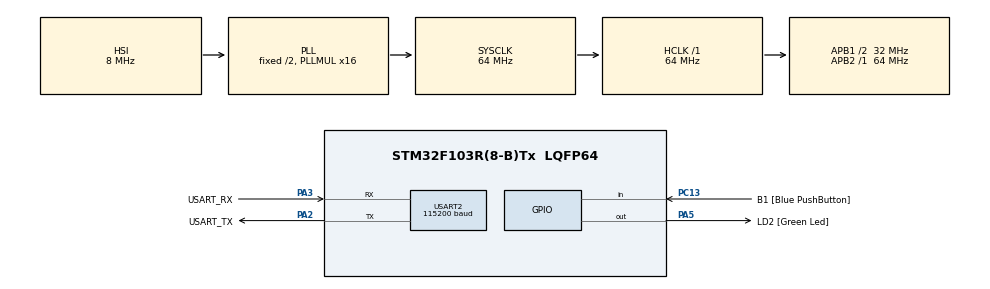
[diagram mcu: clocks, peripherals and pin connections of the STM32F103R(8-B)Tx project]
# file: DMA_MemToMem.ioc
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Dma.MEMTOMEM.0.Direction=DMA_MEMORY_TO_MEMORY
Dma.MEMTOMEM.0.Instance=DMA1_Channel1
Dma.MEMTOMEM.0.MemDataAlignment=DMA_MDATAALIGN_WORD
Dma.MEMTOMEM.0.MemInc=DMA_MINC_ENABLE
Dma.MEMTOMEM.0.Mode=DMA_NORMAL
Dma.MEMTOMEM.0.PeriphDataAlignment=DMA_PDATAALIGN_WORD
Dma.MEMTOMEM.0.PeriphInc=DMA_PINC_ENABLE
Dma.MEMTOMEM.0.Priority=DMA_PRIORITY_HIGH
Dma.Request0=MEMTOMEM
Mcu.Family=STM32F1
Mcu.Name=STM32F103R(8-B)Tx
Mcu.Package=LQFP64
NVIC.DMA1_Channel1_IRQn=true\:1\:0\:false\:false\:true\:true\:true\:true
NVIC.PriorityGroup=NVIC_PRIORITYGROUP_4
PA13.GPIO_Label=TMS
PA13.Mode=Serial_Wire
PA13.Signal=SYS_JTMS-SWDIO
PA14.GPIO_Label=TCK
PA14.Mode=Serial_Wire
PA14.Signal=SYS_JTCK-SWCLK
PA2.GPIO_Label=USART_TX
PA2.GPIO_Mode=GPIO_MODE_AF_PP
PA2.GPIO_PuPd=GPIO_NOPULL
PA2.GPIO_Speed=GPIO_SPEED_FREQ_LOW
PA2.Mode=Asynchronous
PA2.Signal=USART2_TX
PA3.GPIO_Label=USART_RX
PA3.GPIO_PuPd=GPIO_NOPULL
PA3.GPIO_Speed=GPIO_SPEED_FREQ_LOW
PA3.Mode=Asynchronous
PA3.Signal=USART2_RX
PA5.GPIO_Label=LD2 [Green Led]
PA5.GPIO_ModeDefaultOutputPP=GPIO_MODE_OUTPUT_PP
PA5.GPIO_PuPd=GPIO_NOPULL
PA5.GPIO_Speed=GPIO_SPEED_FREQ_LOW
PA5.Signal=GPIO_Output
PB3.GPIO_Label=SWO
PB3.Signal=SYS_JTDO-TRACESWO
PC13-TAMPER-RTC.GPIO_Label=B1 [Blue PushButton]
PC13-TAMPER-RTC.GPIO_PuPd=GPIO_NOPULL
PC13-TAMPER-RTC.Signal=GPIO_Input
PC14-OSC32_IN.Mode=LSE-External-Oscillator
PC14-OSC32_IN.Signal=RCC_OSC32_IN
PC15-OSC32_OUT.Mode=LSE-External-Oscillator
PC15-OSC32_OUT.Signal=RCC_OSC32_OUT
PD0-OSC_IN.Mode=HSE-External-Clock-Source
PD0-OSC_IN.Signal=RCC_OSC_IN
PD1-OSC_OUT.Mode=HSE-External-Clock-Source
PD1-OSC_OUT.Signal=RCC_OSC_OUT
ProjectManager.HeapSize=0x200
ProjectManager.StackSize=0x400
ProjectManager.TargetToolchain=STM32CubeIDE
RCC.AHBFreq_Value=64000000
RCC.APB1CLKDivider=RCC_HCLK_DIV2
RCC.APB1Freq_Value=32000000
RCC.APB1TimFreq_Value=64000000
RCC.APB2Freq_Value=64000000
RCC.APB2TimFreq_Value=64000000
RCC.HCLKFreq_Value=64000000
RCC.PLLMUL=RCC_PLL_MUL16
RCC.RTCClockSelection=RCC_RTCCLKSOURCE_LSE
RCC.SYSCLKFreq_VALUE=64000000
RCC.SYSCLKSource=RCC_SYSCLKSOURCE_PLLCLK
RCC.USBFreq_Value=64000000
USART2.BaudRate=115200
USART2.VirtualMode=VM_ASYNC
board=NUCLEO-F103RB

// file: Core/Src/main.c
/* USER CODE BEGIN Header */
/**
 ******************************************************************************
 * @file           : main.c
 * @brief          : Main program body
 ******************************************************************************
 * @attention
 *
 * Copyright (c) 2026 STMicroelectronics.
 * All rights reserved.
 *
 * This software is licensed under terms that can be found in the LICENSE file
 * in the root directory of this software component.
 * If no LICENSE file comes with this software, it is provided AS-IS.
 *
 ******************************************************************************
 */
/**
 * 01_DMA_MemToMem_c  —  [계층: HAL]  DMA1 채널1 메모리->메모리 복사
 *
 * 동작
 *   - 256워드(1KB) 배열을 (1) CPU 반복문, (2) DMA 로 각각 복사하고 DWT 사이클 카운터로 시간을 비교한다.
 *   - 부팅 시 1회, 이후 B1(PC13) 버튼을 누를 때마다 다시 측정하여 USART2(115200)로 출력.
 *
 * DMA 설정 (RM0008 13장)
 *   DMA1_Channel1->CCR: MEM2MEM=1, DIR=1(주변장치 주소 = 소스), PINC=1, MINC=1, PSIZE=MSIZE=32비트
 *   DMA1_Channel1->CPAR = 소스 주소, CMAR = 목적지 주소, CNDTR = 전송 개수
 *   DMA 는 CPU 를 쓰지 않고 버스 마스터로 복사 -> 완료되면 ISR.TCIF1 -> 인터럽트
 *
 * ISR vs 콜백
 *   DMA1_Channel1_IRQHandler (stm32f1xx_it.c, 진짜 ISR) -> HAL_DMA_IRQHandler()
 *     -> dma_done_cb() (이 파일, HAL_DMA_RegisterCallback 으로 등록한 콜백)
 *
 * 참고: 데이터가 SRAM 안에서 왕복하므로 버스 경합 때문에 DMA 가 CPU 루프보다 극적으로
 *       빠르지는 않을 수 있다. 이 예제의 핵심은 "전송 중 CPU 가 자유로움"을 확인하는 것이다.
 */
/* USER CODE END Header */
#include "main.h"

/* USER CODE BEGIN Includes */
#include <stdio.h>
#include <string.h>
/* USER CODE END Includes */

/* USER CODE BEGIN PD */
#define N_WORDS 256

/* USER CODE END PD */

DMA_HandleTypeDef hdma_memtomem_dma1_channel1;
UART_HandleTypeDef huart2;

/* USER CODE BEGIN PV */
static uint32_t src[N_WORDS];
static uint32_t dst_cpu[N_WORDS];
static uint32_t dst_dma[N_WORDS];
static volatile uint8_t dma_done;
/* USER CODE END PV */

void SystemClock_Config(void);
static void MX_GPIO_Init(void);
static void MX_DMA_Init(void);
static void MX_USART2_UART_Init(void);
/* USER CODE BEGIN PFP */
static void run_test(void);

/* USER CODE END PFP */

/* USER CODE BEGIN 0 */
/* ------------------------------------------------------------------------- */
/* DMA 콜백 (HAL_DMA_IRQHandler(ISR, stm32f1xx_it.c) 가 호출하는 등록형 콜백 */
/* ------------------------------------------------------------------------- */
static void dma_done_cb(DMA_HandleTypeDef *hdma) { (void)hdma; dma_done = 1; }

static void run_test(void)
{
    char msg[96];
    uint32_t t0, cpu_cycles, dma_cycles, free_loops = 0;

    memset(dst_cpu, 0, sizeof dst_cpu);
    memset(dst_dma, 0, sizeof dst_dma);

    /* (1) CPU 복사. volatile 로 컴파일러가 memcpy 로 바꾸거나 제거하지 못하게 한다 */
    volatile uint32_t *d = dst_cpu;
    t0 = DWT->CYCCNT;
    for (uint32_t i = 0; i < N_WORDS; i++) d[i] = src[i];
    cpu_cycles = DWT->CYCCNT - t0;

    /* (2) DMA 복사: 시작 후 완료될 때까지 CPU 가 다른 일을 한 횟수(free_loops)도 센다 */
    dma_done = 0;
    t0 = DWT->CYCCNT;
    if (HAL_DMA_Start_IT(&hdma_memtomem_dma1_channel1, (uint32_t)src, (uint32_t)dst_dma, N_WORDS) != HAL_OK) Error_Handler();
    while (!dma_done) free_loops++;
    dma_cycles = DWT->CYCCNT - t0;

    int ok = (memcmp(src, dst_dma, sizeof src) == 0);
    int n = snprintf(msg, sizeof msg, "CPU=%lu cyc  DMA=%lu cyc  (CPU free loops=%lu)  verify=%s\r\n",
                     (unsigned long)cpu_cycles, (unsigned long)dma_cycles,
                     (unsigned long)free_loops, ok ? "OK" : "FAIL");
    HAL_UART_Transmit(&huart2, (uint8_t *)msg, (uint16_t)n, 200);
}

/* USER CODE END 0 */

int main(void)
{

  /* MCU Configuration--------------------------------------------------------*/

  /* Reset of all peripherals, Initializes the Flash interface and the Systick. */
  HAL_Init();

  /* Configure the system clock */
  SystemClock_Config();

  /* Initialize all configured peripherals */
  MX_GPIO_Init();
  MX_DMA_Init();
  MX_USART2_UART_Init();
  /* USER CODE BEGIN 2 */
  /* DWT 사이클 카운터: CoreDebug->DEMCR.TRCENA=1, DWT->CTRL.CYCCNTENA=1 */
  CoreDebug->DEMCR |= CoreDebug_DEMCR_TRCENA_Msk;
  DWT->CYCCNT = 0;
  DWT->CTRL |= DWT_CTRL_CYCCNTENA_Msk;

  /* MX_DMA_Init() 가 설정한 DMA1_Channel1 (메모리->메모리):
   *   CCR.MEM2MEM=1 / CCR.PINC=1 (소스 주소 증가) / CCR.MINC=1 (목적지 주소 증가) / CCR.PSIZE=CCR.MSIZE=32비트 / CCR.CIRC=0
   *   NVIC->ISER[0] bit11 (DMA1_Channel1_IRQn) 도 MX_DMA_Init 에서 활성화 */
  /* 전송 완료 콜백 등록 (HAL_DMA_IRQHandler 가 ISR.TCIF1 을 확인한 뒤 호출). 일반 HAL 콜백과 달리 함수 포인터 등록 방식 */
  HAL_DMA_RegisterCallback(&hdma_memtomem_dma1_channel1, HAL_DMA_XFER_CPLT_CB_ID, dma_done_cb);

  for (uint32_t i = 0; i < N_WORDS; i++) src[i] = 0xA5000000u | i;

  run_test();
  /* USER CODE END 2 */

  /* Infinite loop */
  while (1)
  {

    /* USER CODE BEGIN 3 */
    if (HAL_GPIO_ReadPin(B1_GPIO_Port, B1_Pin) == GPIO_PIN_RESET)   /* GPIOC->IDR bit13 (B1_Pin) == 0 : 눌림 */
    {
      HAL_Delay(30);                                            /* 간이 디바운스 */
      run_test();
      while (HAL_GPIO_ReadPin(B1_GPIO_Port, B1_Pin) == GPIO_PIN_RESET) {}
      HAL_Delay(30);
    }
  }
  /* USER CODE END 3 */
}

void SystemClock_Config(void)
{
  RCC_OscInitTypeDef RCC_OscInitStruct = {0};
  RCC_ClkInitTypeDef RCC_ClkInitStruct = {0};

  /** Initializes the RCC Oscillators according to the specified parameters
  * in the RCC_OscInitTypeDef structure.
  */
  RCC_OscInitStruct.OscillatorType = RCC_OSCILLATORTYPE_HSI;
  RCC_OscInitStruct.HSIState = RCC_HSI_ON;
  RCC_OscInitStruct.HSICalibrationValue = RCC_HSICALIBRATION_DEFAULT;
  RCC_OscInitStruct.PLL.PLLState = RCC_PLL_ON;
  RCC_OscInitStruct.PLL.PLLSource = RCC_PLLSOURCE_HSI_DIV2;
  RCC_OscInitStruct.PLL.PLLMUL = RCC_PLL_MUL16;
  if (HAL_RCC_OscConfig(&RCC_OscInitStruct) != HAL_OK)
  {
    Error_Handler();
  }

  /** Initializes the CPU, AHB and APB buses clocks
  */
  RCC_ClkInitStruct.ClockType = RCC_CLOCKTYPE_HCLK|RCC_CLOCKTYPE_SYSCLK
                              |RCC_CLOCKTYPE_PCLK1|RCC_CLOCKTYPE_PCLK2;
  RCC_ClkInitStruct.SYSCLKSource = RCC_SYSCLKSOURCE_PLLCLK;
  RCC_ClkInitStruct.AHBCLKDivider = RCC_SYSCLK_DIV1;
  RCC_ClkInitStruct.APB1CLKDivider = RCC_HCLK_DIV2;
  RCC_ClkInitStruct.APB2CLKDivider = RCC_HCLK_DIV1;

  if (HAL_RCC_ClockConfig(&RCC_ClkInitStruct, FLASH_LATENCY_2) != HAL_OK)
  {
    Error_Handler();
  }
}

static void MX_GPIO_Init(void)
{
  GPIO_InitTypeDef GPIO_InitStruct = {0};

  /* GPIO Ports Clock Enable */
  __HAL_RCC_GPIOC_CLK_ENABLE();
  __HAL_RCC_GPIOD_CLK_ENABLE();
  __HAL_RCC_GPIOA_CLK_ENABLE();
  __HAL_RCC_GPIOB_CLK_ENABLE();

  /*Configure GPIO pin Output Level */
  HAL_GPIO_WritePin(LD2_GPIO_Port, LD2_Pin, GPIO_PIN_RESET);

  /*Configure GPIO pin : B1_Pin */
  GPIO_InitStruct.Pin = B1_Pin;
  GPIO_InitStruct.Mode = GPIO_MODE_INPUT;
  GPIO_InitStruct.Pull = GPIO_NOPULL;
  HAL_GPIO_Init(B1_GPIO_Port, &GPIO_InitStruct);

  /*Configure GPIO pin : LD2_Pin */
  GPIO_InitStruct.Pin = LD2_Pin;
  GPIO_InitStruct.Mode = GPIO_MODE_OUTPUT_PP;
  GPIO_InitStruct.Pull = GPIO_NOPULL;
  GPIO_InitStruct.Speed = GPIO_SPEED_FREQ_LOW;
  HAL_GPIO_Init(LD2_GPIO_Port, &GPIO_InitStruct);

}

static void MX_DMA_Init(void)
{

  /* DMA controller clock enable */
  __HAL_RCC_DMA1_CLK_ENABLE();

  /* Configure DMA request hdma_memtomem_dma1_channel1 on DMA1_Channel1 */
  hdma_memtomem_dma1_channel1.Instance = DMA1_Channel1;
  hdma_memtomem_dma1_channel1.Init.Direction = DMA_MEMORY_TO_MEMORY;
  hdma_memtomem_dma1_channel1.Init.PeriphInc = DMA_PINC_ENABLE;
  hdma_memtomem_dma1_channel1.Init.MemInc = DMA_MINC_ENABLE;
  hdma_memtomem_dma1_channel1.Init.PeriphDataAlignment = DMA_PDATAALIGN_WORD;
  hdma_memtomem_dma1_channel1.Init.MemDataAlignment = DMA_MDATAALIGN_WORD;
  hdma_memtomem_dma1_channel1.Init.Mode = DMA_NORMAL;
  hdma_memtomem_dma1_channel1.Init.Priority = DMA_PRIORITY_HIGH;
  if (HAL_DMA_Init(&hdma_memtomem_dma1_channel1) != HAL_OK)
  {
    Error_Handler( );
  }

  /* DMA interrupt init */
  /* DMA1_Channel1_IRQn interrupt configuration */
  HAL_NVIC_SetPriority(DMA1_Channel1_IRQn, 1, 0);
  HAL_NVIC_EnableIRQ(DMA1_Channel1_IRQn);

}

static void MX_USART2_UART_Init(void)
{

  huart2.Instance = USART2;
  huart2.Init.BaudRate = 115200;
  huart2.Init.WordLength = UART_WORDLENGTH_8B;
  huart2.Init.StopBits = UART_STOPBITS_1;
  huart2.Init.Parity = UART_PARITY_NONE;
  huart2.Init.Mode = UART_MODE_TX_RX;
  huart2.Init.HwFlowCtl = UART_HWCONTROL_NONE;
  huart2.Init.OverSampling = UART_OVERSAMPLING_16;
  if (HAL_UART_Init(&huart2) != HAL_OK)
  {
    Error_Handler();
  }

}

void Error_Handler(void)
{
  __disable_irq();
  while (1) {
  }
}
#ifdef USE_FULL_ASSERT
/**
  * @brief  Reports the name of the source file and the source line number
  *         where the assert_param error has occurred.
  * @param  file: pointer to the source file name
  * @param  line: assert_param error line source number
  * @retval None
  */
void assert_failed(uint8_t *file, uint32_t line)
{
  /* USER CODE BEGIN 6 */
  /* User can add his own implementation to report the file name and line
     number, ex: printf("Wrong parameters value: file %s on line %d\r\n", file,
     line) */
  /* USER CODE END 6 */
}
#endif /* USE_FULL_ASSERT */
